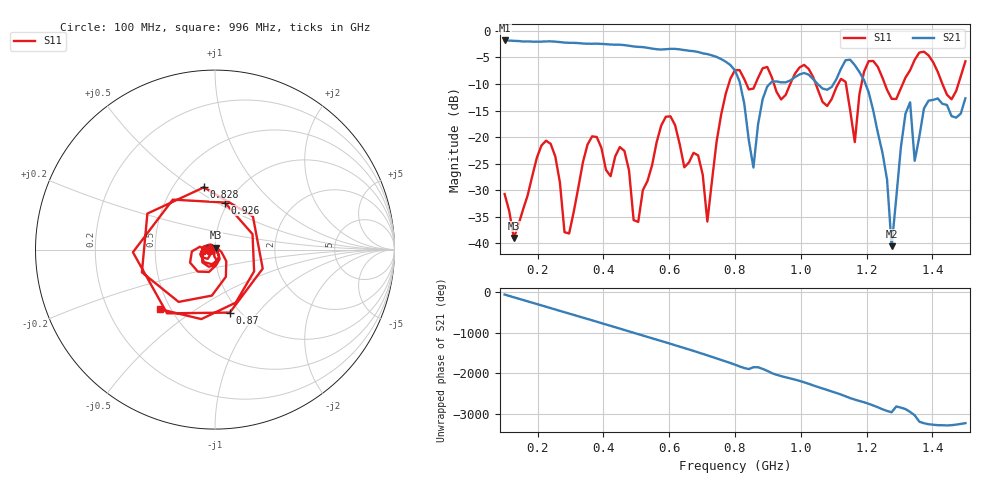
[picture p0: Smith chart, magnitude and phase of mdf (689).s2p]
! NanoVNA-App
! Date: 2025-09-25 15:43:47
! Start: 100MHz Stop: 1,5GHz Points: 101
! S-Parameter data: F S11 S21 S12 S22
# Hz S RI R 50
!  Frequency  S11_Real  S11_Imag  S21_Real  S21_Imag  S12_Real  S12_Imag  S22_Real  S22_Imag
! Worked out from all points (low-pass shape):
!   101 points, 100 MHz to 1.5 GHz, reference 50 ohm
!   highest |S21| = -1.80 dB at 100 MHz (marker M1); lowest = -40.6 dB at 1.276 GHz (marker M2)
!   |S21| within 3 dB of the highest: start of sweep to 739.2 MHz
!   lowest |S11| = -39.0 dB at 128 MHz (marker M3), VSWR 1.02, Z = 50.3 + j1.07 ohm
!   |S11| at or under -10 dB: start of sweep to 781 MHz; 1.045 GHz to 1.114 GHz (68.19 MHz wide, 6.32 % of centre); 1.255 GHz to 1.31 GHz (54.39 MHz wide, 4.24 % of centre) (the widest 3 of 7)
!   S12 and S22 are empty: the file has one direction only
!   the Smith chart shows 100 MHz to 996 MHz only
!   S11 on the Smith chart (normalised r, x): 100 MHz: 0.94, -0.01; 828 MHz: 0.70, +0.56; 870 MHz: 0.90, -0.73; 926 MHz: 0.96, +0.54; 996 MHz: 0.44, -0.36
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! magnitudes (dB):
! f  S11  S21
! 100 MHz  -30.7  -1.8
! 128 MHz  -39.0  -1.9
! 212 MHz  -21.6  -2.0
! 282 MHz  -37.9  -2.2
! 338 MHz  -24.7  -2.4
! 464 MHz  -22.6  -2.7
! 506 MHz  -36.0  -3.0
! 576 MHz  -17.8  -3.5
! 716 MHz  -35.9  -4.4
! 800 MHz  -7.4  -7.5
! 828 MHz  -9.1  -13.6
! 856 MHz  -10.9  -25.7
! 870 MHz  -8.9  -17.6
! 926 MHz  -11.4  -9.5
! 996 MHz  -6.9  -8.2
! 1.038 GHz  -8.8  -9.1
! 1.164 GHz  -20.9  -6.4
! 1.192 GHz  -7.7  -9.3
! 1.276 GHz  -12.8  -40.6
! 1.332 GHz  -7.4  -13.5
! 1.346 GHz  -5.4  -24.5
! 1.5 GHz  -5.7  -12.7
